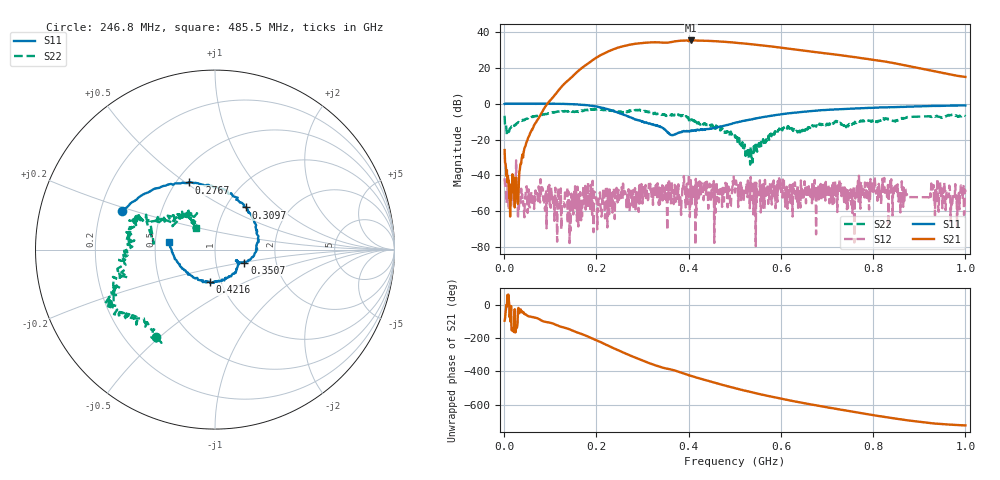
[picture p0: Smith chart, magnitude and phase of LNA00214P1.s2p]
! Created with skrf 1.9.0 (http://scikit-rf.org).
# Hz S RI R 50.0
!freq ReS11 ImS11 ReS21 ImS21 ReS12 ImS12 ReS22 ImS22
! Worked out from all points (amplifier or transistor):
!   954 points, 1 MHz to 1 GHz, reference 50 ohm
!   highest |S21| = 35.1 dB at 405.6 MHz (marker M1)
!   |S21| within 3 dB of that: 262.1 MHz to 568 MHz (305.9 MHz wide, 73.7 % of centre)
!   unconditionally stable (mu >= 1): start of sweep to 89.86 MHz; 297.9 MHz to 389.4 MHz; 389.9 MHz to end of sweep (the widest 3 of 22)
!   at 159.8 MHz: K = 2.09, MAG = 30.5 dB, |S12| = -54.8 dB
!   at 477.5 MHz: K = 2.39, MAG = 34.8 dB, |S12| = -48.3 dB
!   at 1 GHz: K = 4.17, MAG = 22.9 dB, |S12| = -49.2 dB
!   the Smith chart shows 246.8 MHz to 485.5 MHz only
!   S11 on the Smith chart (normalised r, x): 246.8 MHz: 0.29, +0.18; 276.7 MHz: 0.58, +0.52; 309.7 MHz: 1.24, +0.64; 350.6 MHz: 1.37, -0.20; 421.6 MHz: 0.88, -0.33; 485.5 MHz: 0.59, +0.05
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1000000  0.9796 0.0116  -0.00527 -0.0507  -0.00614 0.00565  0.336 0.3121
1.08892e8  0.5095 -0.8509  -0.7573 -1.502  0.000302 -0.000454  0.4423 -0.3644
1.67833e8  -0.253 -0.8912  -9.654 -0.7535  0.000439 -0.00189  0.0687 -0.6467
2.1079e8  -0.6906 -0.3499  -15.66 16.67  -0.000506 -0.000506  -0.1686 -0.6727
2.46754e8  -0.5175 0.2171  1.703 36.02  -0.0015 0.00112  -0.3268 -0.4842
2.76724e8  -0.146 0.3744  27.96 34.44  -0.00252 0.000511  -0.5361 -0.3582
3.09691e8  0.1734 0.235  48.41 12.36  -0.00195 0.00199  -0.5484 -0.1995
3.34666e8  0.2311 0.0228  49.87 -8.953  0.000522 -0.00163  -0.5344 -0.0593
3.5065e8  0.164 -0.072  45.8 -18.93  -0.000386 0.00209  -0.4801 0.0253
3.74626e8  0.128 -0.0719  42.25 -34.82  -0.00314 0.00383  -0.4391 0.137
4.05595e8  0.0475 -0.1689  21.94 -52.82  8.06e-05 0.00276  -0.3189 0.1817
4.21579e8  -0.0306 -0.1792  8.874 -55.82  0.00106 0.00175  -0.2347 0.1923
4.5055e8  -0.1642 -0.1167  -13.6 -53.73  0.00439 0.000664  -0.1466 0.2172
4.85515e8  -0.2544 0.0403  -33.26 -39.36  0.00275 0.0012  -0.1045 0.1223
5.005e8  -0.2656 0.1203  -39 -31.26  -0.000523 0.0033  -0.0648 0.1153
5.41459e8  -0.1821 0.3287  -43.34 -8.65  0.0053 -0.00105  -0.0631 0.0184
5.84416e8  -0.00449 0.4736  -36.94 10.14  0.00687 -0.00238  -0.1147 -0.0843
6.67333e8  0.3877 0.4876  -13.89 24.01  -0.000354 -0.00165  -0.2333 -0.0373
7.54246e8  0.6694 0.2798  3.962 19.72  -0.00333 -0.0025  -0.2703 0.00355
8.34166e8  0.7903 0.0257  10.48 9.539  -0.000881 0.00316  -0.3762 0.0196
8.74126e8  0.8114 -0.1156  10.15 4.907  9.13e-05 -0.0025  -0.4156 0.0844
1e9  0.7314 -0.5121  5.496 -0.4824  -0.00348 -1.46e-05  -0.3035 0.3226
